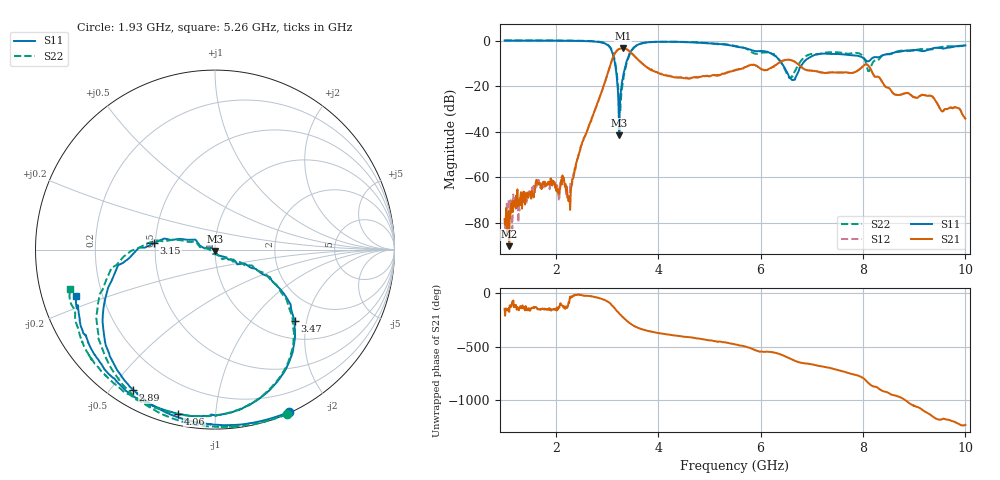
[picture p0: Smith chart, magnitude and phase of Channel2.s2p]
!Agilent Technologies,N5227A,US51270477,A.10.00.00
!File generated by LCAF-GAM-UPV software
!josevmart@iteam.upv.es
!S2P File: Measurements: S11, S21, S12, S22:
# Hz S  dB  R 50
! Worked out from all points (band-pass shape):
!   901 points, 1 GHz to 10 GHz, reference 50 ohm
!   highest |S21| = -3.40 dB at 3.31 GHz (marker M1); lowest = -90.3 dB at 1.09 GHz (marker M2)
!   |S21| within 3 dB of the highest: 3.137 GHz to 3.517 GHz (380.3 MHz wide, 11.4 % of centre)
!   lowest |S11| = -41.6 dB at 3.24 GHz (marker M3), VSWR 1.02, Z = 50.1 - j0.819 ohm
!   |S11| at or under -10 dB: 3.155 GHz to 3.374 GHz (219.5 MHz wide, 6.72 % of centre); 6.414 GHz to 6.825 GHz (410.9 MHz wide, 6.21 % of centre)
!   |S22| runs from -31.5 to 0.0 dB; largest |S21 - S12| = 0.043
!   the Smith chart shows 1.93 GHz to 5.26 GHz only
!   S11 on the Smith chart (normalised r, x): 1.93 GHz: 0.01, -1.56; 2.89 GHz: 0.07, -0.57; 3.15 GHz: 0.49, +0.04; 3.47 GHz: 1.38, -1.70; 4.06 GHz: 0.05, -0.80; 5.26 GHz: 0.10, -0.16
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1e9  -0.01 -32.9  -78.41 -145.3  -79.39 -150.4  0.01 -33.4
1.09e9  -0.01 -36.2  -90.26 -174.4  -76.70 -132.0  0.01 -36.4
1.93e9  -0.05 -65.4  -63.63 -151.3  -63.27 -149.3  0.01 -66.3
2.27e9  -0.12 -78.7  -69.99 -54.8  -70.73 -49.7  -0.04 -80.4
2.5e9  -0.21 -90.0  -46.07 -16.0  -45.99 -17.0  -0.12 -91.4
2.89e9  -0.87 -120.2  -22.78 -51.1  -23.01 -49.7  -0.68 -120.8
3.15e9  -9.34 173.8  -5.82 -140.2  -5.88 -138.0  -8.49 174.6
3.24e9  -41.62 -80.0  -3.69 169.8  -3.69 171.0  -31.25 -177.5
3.31e9  -16.51 -33.4  -3.40 137.0  -3.37 137.8  -18.47 -33.9
3.47e9  -4.52 -41.8  -5.40 70.8  -5.34 71.5  -4.87 -40.9
4e9  -0.56 -99.2  -14.29 -13.0  -14.25 -12.9  -0.55 -100.7
4.06e9  -0.57 -102.7  -14.81 -17.1  -14.52 -18.1  -0.55 -104.9
5.26e9  -1.74 -161.4  -14.59 -99.5  -14.73 -97.6  -1.57 -164.8
5.5e9  -2.58 -173.7  -13.06 -119.0  -13.11 -118.5  -2.37 -178.5
6.26e9  -6.43 136.0  -11.24 163.3  -11.62 170.3  -5.86 146.2
6.63e9  -17.33 158.6  -8.91 95.4  -8.87 94.8  -15.60 174.4
7e9  -6.89 164.9  -13.31 53.1  -13.21 53.1  -5.90 152.6
7.54e9  -5.98 96.1  -14.08 -4.6  -14.05 -6.1  -5.27 89.9
8.07e9  -8.97 38.3  -10.47 -104.9  -10.58 -106.1  -10.93 12.2
8.5e9  -5.91 14.1  -20.81 143.9  -20.81 144.3  -6.10 20.5
9.1e9  -4.40 -31.8  -24.46 5.2  -24.45 5.7  -3.81 -26.5
1e10  -2.16 -74.1  -34.29 -156.0  -34.28 -155.3  -2.15 -84.8
